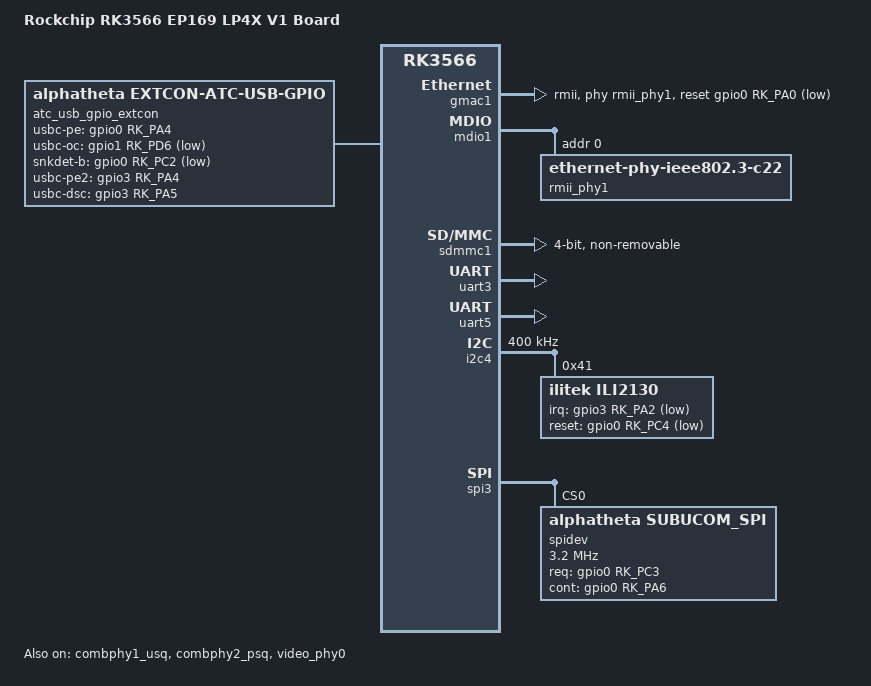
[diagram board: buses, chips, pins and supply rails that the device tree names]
// SPDX-License-Identifier: (GPL-2.0+ OR MIT)
/*
 * Copyright (c) 2020 Rockchip Electronics Co., Ltd.
 *
 */

/dts-v1/;

#include <dt-bindings/gpio/gpio.h>
#include <dt-bindings/display/media-bus-format.h>
#include <dt-bindings/pinctrl/rockchip.h>
#include "rk3566.dtsi"
#include "rk3568-xdjan-v1.dtsi"

/ {
	model = "Rockchip RK3566 EP169 LP4X V1 Board";
	compatible = "rockchip,rk3566-evb2-lp4x-v10", "rockchip,rk3566";

//	rk_headset: rk-headset {
//		status = "disabled";
//		compatible = "rockchip_headset";
//		headset_gpio = <&gpio4 RK_PC5 GPIO_ACTIVE_LOW>;
//		pinctrl-names = "default";
//		pinctrl-0 = <&hp_det>;
//	};

//	vcc_camera: vcc-camera-regulator {
//		compatible = "regulator-fixed";
//		//gpio = <&gpio0 RK_PC1 GPIO_ACTIVE_HIGH>;
//		//pinctrl-names = "default";
//		//pinctrl-0 = <&camera_pwr>;
//		regulator-name = "vcc_camera";
//		enable-active-high;
//		regulator-always-on;
//		regulator-boot-on;
//	};

//	vcc3v3_pcie: gpio-regulator {
//		compatible = "regulator-fixed";
//		regulator-name = "vcc3v3_pcie";
//		regulator-min-microvolt = <3300000>;
//		regulator-max-microvolt = <3300000>;
//		enable-active-high;
//		gpio = <&gpio0 RK_PA5 GPIO_ACTIVE_HIGH>;
//		startup-delay-us = <5000>;
//		vin-supply = <&dc_12v>;
//	};

	gpio-controller {
		compatible = "gpio_control";
		//host_pwr = <&gpio0 RK_PA3 GPIO_ACTIVE_HIGH>;		//Host power
//		usb30_pwr = <&gpio0 RK_PA6 GPIO_ACTIVE_HIGH>;		//usb30 power	VCC5V0_HOST1 (eva)
		//pcie_pwr = <&gpio0 RK_PA5 GPIO_ACTIVE_HIGH>;		//pcie power
		//logic_fb = <&gpio0 RK_PC0 GPIO_ACTIVE_LOW>;		//logic fb
//		rst_4g = <&gpio0 RK_PA0 GPIO_ACTIVE_HIGH>;		//rst_4g
//		sdcd_xrst = <&gpio0 RK_PA5 GPIO_ACTIVE_HIGH>;	// TODO:
		status = "disabled";	// "okay";
	};

	// for EP169 USB-C host from CDJ-3000X
	atc_usb_gpio_extcon: atc-usb-gpio-extcon {
		status = "okay";
		compatible = "alphatheta,extcon-atc-usb-gpio";
		pinctrl-names = "default";
		pinctrl-0 = <&atc_usb_gpios>;

		usbc-pe-gpios = <&gpio0 RK_PA4 GPIO_ACTIVE_HIGH>;		/* USBC_PE (out): GPIO0_A4 */
		usbc-oc-gpios = <&gpio1 RK_PD6 GPIO_ACTIVE_LOW>;		/* USBC_OC (in) : GPIO1_D6 */
		snkdet-b-gpios = <&gpio0 RK_PC2 GPIO_ACTIVE_LOW>;		/* SNKDET_B(in) : GPIO0_C2 */
		usbc-pe2-gpios = <&gpio3 RK_PA4 GPIO_ACTIVE_HIGH>;		/* USBC_PE2(out): GPIO3_A4 */
		usbc-dsc-gpios = <&gpio3 RK_PA5 GPIO_ACTIVE_HIGH>;		/* USBC_DSC(out): GPIO3_A5 */
	};
};

&combphy1_usq {
	status = "okay";
};

&combphy2_psq {
	status = "okay";
};

&csi2_dphy_hw {
	status = "disabled";	//"okay";
};

&csi2_dphy0 {
	status = "disabled";
	/*
	 * dphy0 only used for full mode,
	 * full mode and split mode are mutually exclusive
	 */
	ports {
		#address-cells = <1>;
		#size-cells = <0>;

		port@0 {
			reg = <0>;
			#address-cells = <1>;
			#size-cells = <0>;

			dphy0_in: endpoint@1 {
				reg = <1>;
				//remote-endpoint = <&gc8034_out>;
				data-lanes = <1 2 3 4>;
			};
		};
/*
		port@1 {
			reg = <1>;
			#address-cells = <1>;
			#size-cells = <0>;

			dphy0_out: endpoint@1 {
				reg = <1>;
				remote-endpoint = <&isp0_in>;
			};
		};
*/
	};
};

&csi2_dphy1 {
	status = "disabled";	//"okay";

	/*
	 * dphy1 only used for split mode,
	 * can be used  concurrently  with dphy2
	 * full mode and split mode are mutually exclusive
	 */
	ports {
		#address-cells = <1>;
		#size-cells = <0>;
/*
		port@0 {
			reg = <0>;
			#address-cells = <1>;
			#size-cells = <0>;

			dphy1_in: endpoint@1 {
				reg = <1>;
				remote-endpoint = <&ucam_out0>;		//<&ov5695_out>;
				data-lanes = <1 2>;
			};
		};
*/
		port@1 {
			reg = <1>;
			#address-cells = <1>;
			#size-cells = <0>;

			dphy1_out: endpoint@1 {
				reg = <1>;
				remote-endpoint = <&isp0_in>;
			};
		};
	};
};

&csi2_dphy2 {
	status = "disabled";	//"okay";

	/*
	 * dphy2 only used for split mode,
	 * can be used  concurrently  with dphy1
	 * full mode and split mode are mutually exclusive
	 */
	ports {
		#address-cells = <1>;
		#size-cells = <0>;

		port@0 {
			reg = <0>;
			#address-cells = <1>;
			#size-cells = <0>;

			dphy2_in: endpoint@1 {
				reg = <1>;
				//remote-endpoint = <&ucam_out1>;	//<&gc5025_out>;
				data-lanes = <1 2>;
			};
		};

		port@1 {
			reg = <1>;
			#address-cells = <1>;
			#size-cells = <0>;

			dphy2_out: endpoint@1 {
				reg = <1>;
				remote-endpoint = <&mipi_csi2_input>;
			};
		};
	};
};

&hdmi {
	status = "disabled";	//"okay";
	rockchip,phy-table =
		<92812500  0x8009 0x0000 0x0270>,
		<165000000 0x800b 0x0000 0x026d>,
		<185625000 0x800b 0x0000 0x01ed>,
		<297000000 0x800b 0x0000 0x01ad>,
		<594000000 0x8029 0x0000 0x0088>,
		<000000000 0x0000 0x0000 0x0000>;
};

&hdmi_in_vp0 {
	status = "disabled";	//"okay";
};

&hdmi_in_vp1 {
	status = "disabled";
};

&route_hdmi {
	status = "disabled";	//"okay";
	connect = <&vp0_out_hdmi>;
};

&hdmi_sound {
	status = "disabled";	//"okay";
};

/*
 * video_phy0 needs to be enabled
 * when dsi0 is enabled
 */
&dsi0 {
	status = "disabled";
};

&route_dsi0 {
	status = "disabled";
	connect = <&vp1_out_dsi0>;
};

&dsi0_in_vp0 {
	status = "disabled";
};

&dsi0_in_vp1 {
	status = "disabled";
};

//&dsi0_panel {
//	power-supply = <&vcc3v3_lcd0_n>;
//	reset-gpios = <&gpio0 RK_PC7 GPIO_ACTIVE_LOW>;
//	pinctrl-names = "default";
//	pinctrl-0 = <&lcd0_rst_gpio>;
//};

/*
 * video_phy1 needs to be enabled
 * when dsi1 is enabled
 */
&dsi1 {
	status = "disabled";
};

&dsi1_in_vp0 {
	status = "disabled";
};

&dsi1_in_vp1 {
	status = "disabled";
};

&route_dsi1 {
	status = "disabled";
	connect = <&vp1_out_dsi1>;
};

//&dsi1_panel {
//	power-supply = <&vcc3v3_lcd1_n>;
//	reset-gpios = <&gpio3 RK_PA4 GPIO_ACTIVE_LOW>;
//	pinctrl-names = "default";
//	pinctrl-0 = <&lcd1_rst_gpio>;
//};

&video_phy0 {
	status = "okay";
};

&video_phy1 {
	status = "disabled";
};


&gmac1 {
	status = "okay";

	// RMII
	phy-mode = "rmii";
	clock_in_out = "output";

	assigned-clocks = <&cru SCLK_GMAC1_RX_TX>, <&cru SCLK_GMAC1>;
	assigned-clock-parents = <&cru SCLK_GMAC1_RMII_SPEED>;
	assigned-clock-rates = <0>, <50000000>;

	snps,reset-gpio = <&gpio0 RK_PA0 GPIO_ACTIVE_LOW>;	// <&gpio4 RK_PC2 GPIO_ACTIVE_LOW>;
	snps,reset-active-low;
	/* Reset time is 20ms, 100ms for rtl8211f */
	snps,reset-delays-us = <0 20000 100000>;

	pinctrl-names = "default";
	pinctrl-0 = <&gmac1m0_miim
		     &gmac1m0_clkinout
		     &gmac1m0_rx_bus2
		     &gmac1m0_tx_bus2
		     &gmac1m0_rx_er>;

	phy-handle = <&rmii_phy1>;

/*	// RGMII
	phy-mode = "rgmii";
	clock_in_out = "input";

	assigned-clocks = <&cru SCLK_GMAC1_RX_TX>, <&cru SCLK_GMAC1>;
	assigned-clock-parents = <&cru SCLK_GMAC1_RGMII_SPEED>, <&gmac1_clkin>;

	snps,reset-gpio = <&gpio0 RK_PA0 GPIO_ACTIVE_LOW>;	// <&gpio4 RK_PC2 GPIO_ACTIVE_LOW>;
	snps,reset-active-low;
	// Reset time is 20ms, 100ms for rtl8211f
	snps,reset-delays-us = <0 20000 100000>;

	pinctrl-names = "default";
	pinctrl-0 = <&gmac1m0_miim
		     &gmac1m0_tx_bus2
		     &gmac1m0_rx_bus2
		     &gmac1m0_rgmii_clk
		     &gmac1m0_rgmii_bus
		     &gmac1m0_clkinout>;

	tx_delay = <0x4e>;	//<0x4f>;
	rx_delay = <0x2c>;	//<0x25>;

	phy-handle = <&rgmii_phy1>;
*/
};

&mdio1 {
	// RMII
	rmii_phy1: phy@0 {
		compatible = "ethernet-phy-ieee802.3-c22";
		reg = <0x0>;
	};

/*	// RGMII
	rgmii_phy1: phy@0 {
		compatible = "ethernet-phy-ieee802.3-c22";
		reg = <0x0>;
	};
*/
};

&mipi_csi2 {
	status = "disabled";	//"okay";

	ports {
		#address-cells = <1>;
		#size-cells = <0>;

		port@0 {
			reg = <0>;
			#address-cells = <1>;
			#size-cells = <0>;

			mipi_csi2_input: endpoint@1 {
				reg = <1>;
				remote-endpoint = <&dphy2_out>;
				data-lanes = <1 2>;
			};
		};

		port@1 {
			reg = <1>;
			#address-cells = <1>;
			#size-cells = <0>;

			mipi_csi2_output: endpoint@0 {
				reg = <0>;
				remote-endpoint = <&cif_mipi_in>;
				data-lanes = <1 2>;
			};
		};
	};
};

&pcie2x1 {
//	reset-gpios = <&gpio1 RK_PB2 GPIO_ACTIVE_HIGH>;
//	vpcie3v3-supply = <&vcc3v3_pcie>;
	status = "disabled";	//"okay";
};

&pinctrl {
	// for touch screen
	touch2 {
		touch_gpio2: touch-gpio2 {
			rockchip,pins =
				<3 RK_PA2 RK_FUNC_GPIO &pcfg_pull_none>,	// TOUCH_INT
				<0 RK_PC4 RK_FUNC_GPIO &pcfg_pull_none>;	// TOUCH_RST
		};
	};

	// for wifi/bluetooth module PDN
	sdio-pwrseq {
		wm_rst: wm-rst {
			rockchip,pins = <2 RK_PB5 RK_FUNC_GPIO &pcfg_pull_none>;
		};
	};

	// for EP169 USB-C host from CDJ-3000X
	extcon {
		atc_usb_gpios: atc-usb-gpios {
			rockchip,pins =
				<0 RK_PA4 RK_FUNC_GPIO &pcfg_output_low>,	/* USBC_PE (out): GPIO0_A4 */
				<1 RK_PD6 RK_FUNC_GPIO &pcfg_pull_none>,	/* USBC_OC (in) : GPIO1_D6 */
				<0 RK_PC2 RK_FUNC_GPIO &pcfg_pull_none>,	/* SNKDET_B(in) : GPIO0_C2 */
				<3 RK_PA4 RK_FUNC_GPIO &pcfg_output_low>,	/* USBC_PE2(out): GPIO3_A4 */
				<3 RK_PA5 RK_FUNC_GPIO &pcfg_output_low>;	/* USBC_DSC(out): GPIO3_A5 */
		};
	};

//	cam {
//		camera_pwr: camera-pwr {
//			rockchip,pins = <0 RK_PC1 RK_FUNC_GPIO &pcfg_pull_none>;
//		};
//	};

//	headphone {
//		hp_det: hp-det {
//			rockchip,pins = <4 RK_PC5 RK_FUNC_GPIO &pcfg_pull_down>;
//		};
//	};

//	wireless-wlan {
//		wifi_host_wake_irq: wifi-host-wake-irq {
//			rockchip,pins = <2 RK_PB2 RK_FUNC_GPIO &pcfg_pull_down>;
//		};
//	};

//	wireless-bluetooth {
//		uart1_gpios: uart1-gpios {
//			rockchip,pins = <2 RK_PB5 RK_FUNC_GPIO &pcfg_pull_none>;
//		};
//	};

//	lcd0 {
//		lcd0_rst_gpio: lcd0-rst-gpio {
//			rockchip,pins = <0 RK_PC7 RK_FUNC_GPIO &pcfg_pull_up>;
//		};
//	};

//	lcd1 {
//		lcd1_rst_gpio: lcd1-rst-gpio {
//			rockchip,pins = <3 RK_PA4 RK_FUNC_GPIO &pcfg_pull_none>;
//		};
//	};
};

&rkcif {
	status = "disabled";	// "okay";
};

&rkcif_dvp {
	status = "disabled";

	port {
		//Parallel bus endpoint
		dvp_in_bcam: endpoint {
			//remote-endpoint = <&gc2145_out>;
			bus-width = <8>;
			vsync-active = <0>;
			hsync-active = <1>;
		};
	};
};

&rkcif_mipi_lvds {
	status = "disabled";	// "okay";

	port {
		cif_mipi_in: endpoint {
			remote-endpoint = <&mipi_csi2_output>;
			data-lanes = <1 2>;
		};
	};
};

&rkcif_mmu {
	status = "disabled";	// "okay";
};

&rkisp {
	status = "disabled";	// "okay";
};

&rkisp_mmu {
	status = "disabled";	// "okay";
};

&rkisp_vir0 {
	status = "disabled";	// "okay";

	port {
		#address-cells = <1>;
		#size-cells = <0>;

		isp0_in: endpoint@0 {
			reg = <0>;
			remote-endpoint = <&dphy1_out>;
		};
	};
};

&sdmmc2 {
	status = "disabled";
};

// for Silex SDMAX wireless LAN via SDIO
&sdmmc1 {
	max-frequency = <150000000>;
//	supports-sd;
	supports-sdio;
	bus-width = <4>;
//	cap-mmc-highspeed;
	cap-sd-highspeed;
	cap-sdio-irq;
	disable-wp;
	non-removable;
	sd-uhs-sdr104;
	keep-power-in-suspend;
	mmc-pwrseq = <&sdio_pwrseq>;
	pinctrl-names = "default";
//	pinctrl-0 = <&sdmmc1_bus4 &sdmmc1_cmd &sdmmc1_clk &sdmmc1_det>;
	pinctrl-0 = <&sdmmc1_bus4 &sdmmc1_cmd &sdmmc1_clk>;
	status = "okay";
};

&sdio_pwrseq {
	compatible = "mmc-pwrseq-simple";
	pinctrl-names = "default";
	pinctrl-0 = <&wm_rst>;

	post-power-on-delay-ms = <200>;
	reset-gpios = <&gpio2 RK_PB5 GPIO_ACTIVE_LOW>;
};

&spdif_8ch {
	status = "disabled";	// "okay";
//	pinctrl-names = "default";
//	pinctrl-0 = <&spdifm2_tx>;	//<&spdifm1_tx>;
};

&uart1 {
	status = "disabled";	// "okay";
	pinctrl-names = "default";
	pinctrl-0 = <&uart1m0_xfer &uart1m0_ctsn>;
//	pinctrl-0 = <&uart1m0_xfer &uart1m0_ctsn &uart1m0_rtsn>;
};

// for EP169 RTX SonicLink via uart
&uart3 {
	status = "okay";
	dma-names = "tx", "rx";
	pinctrl-names = "default";
	pinctrl-0 = <&uart3m0_xfer>;
};

&uart4 {
	status = "disabled";	// "okay";
//	pinctrl-names = "default";
//	pinctrl-0 = <&uart4m0_xfer>;
};

// for Silex SDMAX bluetooth via uart
&uart5 {
	status = "okay";
	dma-names = "tx", "rx";
	pinctrl-names = "default";
	pinctrl-0 = <&uart5m0_xfer &uart5m0_ctsn &uart5m0_rtsn>;
};


&i2c4 {
	status = "okay";
	pinctrl-0 = <&i2c4m0_xfer>;

	clock-frequency = <400000>;

	// for EP169 touch screen
	ili2130: ili2130@41 {
		status = "okay";
		compatible = "ilitek,ili2130";
		reg = <0x41>;

		pinctrl-names = "default";
		pinctrl-0 = <&touch_gpio2>;
		alphatheta,irq-gpios = <&gpio3 RK_PA2 GPIO_ACTIVE_LOW>;	// TOUCH_INT
		reset-gpios = <&gpio0 RK_PC4 GPIO_ACTIVE_LOW>;			// TOUCH_RST
	};

/*
	vm149c: vm149c@0c {
		compatible = "silicon touch,vm149c";
		status = "disabled";	// "okay";
		reg = <0x0c>;
		rockchip,camera-module-index = <0>;
		rockchip,camera-module-facing = "back";
	};

	ov13850: ov13850@10 {
		compatible = "ovti,ov13850";
		status = "disabled";	// "okay";
		reg = <0x10>;
		clocks = <&cru CLK_CIF_OUT>;
		clock-names = "xvclk";
		power-domains = <&power RK3568_PD_VI>;

		// conflict with csi-ctl-gpios
		//reset-gpios = <&gpio4 RK_PB0 GPIO_ACTIVE_LOW>;
		//pwdn-gpios = <&gpio4 RK_PB5 GPIO_ACTIVE_LOW>;

		pinctrl-names = "default";
		pinctrl-0 = <&cif_clk &csi_pins>;

		rockchip,camera-module-index = <0>;
		rockchip,camera-module-facing = "back";
		//rockchip,camera-module-name = "TongJu";
		//rockchip,camera-module-lens-name = "CHT842-MD";
		rockchip,camera-module-name = "CMK-CT0116";
		rockchip,camera-module-lens-name = "Largan-50013A1";
		lens-focus = <&vm149c>;

		port {
			ucam_out0: endpoint {
				remote-endpoint = <&dphy1_in>;
				data-lanes = <1 2>;
			};
		};
	};

	ov13850: ov13850@10 {
		compatible = "ovti,ov13850";
		status = "disabled";	// "okay";
		reg = <0x10>;
		clocks = <&cru CLK_CIF_OUT>;
		clock-names = "xvclk";

		// conflict with csi-ctl-gpios
		reset-gpios = <&gpio4 RK_PB1 GPIO_ACTIVE_HIGH>;
		pwdn-gpios = <&gpio4 RK_PB7 GPIO_ACTIVE_HIGH>;
		pinctrl-names = "rockchip,camera_default";
		pinctrl-0 = <&cif_clk>;	

		rockchip,camera-module-index = <1>;
		rockchip,camera-module-facing = "front";
		rockchip,camera-module-name = "TongJu";
		rockchip,camera-module-lens-name = "CHT842-MD";

		port {
			ucam_out1: endpoint {
				remote-endpoint = <&dphy2_in>;
				data-lanes = <1 2>;
			};
		};
	};
*/
};

&i2c5 {
	status = "disabled";
	pinctrl-0 = <&i2c5m1_xfer>;

/*
	clock-frequency = <400000>;
//	i2c-scl-rising-time-ns = <138>;		// TODO:
//	i2c-scl-falling-time-ns = <4>;		// TODO:

	// for EP148 touch screen
	gt9xx: gt9xx@5d {
		status = "disabled";	// "okay";
		compatible = "goodix,gt9xx";
		reg = <0x5d>;		// slave address  TODO: <0x5d>; (0xBA/0xBB) <0x14>; (0x28/0x29)

		pinctrl-names = "default";
		pinctrl-0 = <&touch_gpio2>;

		goodix,irq-gpio = <&gpio4 RK_PD1 IRQ_TYPE_LEVEL_LOW>;	// TOUCH_INT
		goodix,rst-gpio = <&gpio0 RK_PC4 GPIO_ACTIVE_LOW>;		// TOUCH_RST

		goodix,cfg-group3 = [
			44 00 04 58 02 0A 3D 00 01 08 28 05 50 32 03 05
			00 00 00 00 00 00 00 1A 1C 1E 0F 8C 2E 0E 17 15
			31 0D 00 00 00 FE 03 1C 13 00 00 00 00 03 64 32
			00 00 00 0F 94 94 C5 02 07 00 00 04 87 13 00 70
			1E 00 67 30 00 66 4C 00 70 78 00 70 00 00 00 00
			00 00 00 00 00 00 00 00 00 00 00 00 00 00 00 00
			00 00 00 00 00 00 00 00 00 00 00 00 00 00 00 00
			02 04 06 08 0A 0C 0E 10 12 14 16 18 1A 1C FF FF
			FF FF FF FF FF FF FF FF FF FF FF FF FF FF 00 02
			04 06 08 0A 0C 0F 10 12 13 14 16 18 1C 1D 1E 1F
			20 21 22 24 26 28 29 2A FF FF FF FF FF FF FF FF
			FF FF FF FF FF FF FF FF 27 01
		];
	};
*/
};

&spi3 {
	status = "okay";
	pinctrl-names = "default";
	pinctrl-0 = <&spi3m1_pins &spi3m1_cs0>;

	spidev@0 {
		// switch compatible spidev or subucom_spi
		//compatible = "rockchip,spidev";
		compatible = "alphatheta,subucom_spi";
		reg = <0>;
		spi-max-frequency = <3200000>;

		// Remove comment lines in case of subucom.
		spi-cpha = <1>;
		spi-cpol = <1>;
		pinctrl-0 = <&subucom_spi3>;
		req-gpio = <&gpio0 RK_PC3 GPIO_ACTIVE_HIGH>;	/* req:  GPIO0 C3 */
		cont-gpio = <&gpio0 RK_PA6 GPIO_ACTIVE_HIGH>;	/* cont: GPIO0 A6 */
	};
};

// Remove comment lines in case of subucom.
&pinctrl {
	/* atc: enable subucom_spi driver */
	subucom-spi {
		subucom_spi3: subucom-spi3 {
			rockchip,pins =
				<4 RK_PC4 RK_FUNC_GPIO &pcfg_pull_down>,	/* SoM_ErP_REQ:  GPIO4 C4 */
				<0 RK_PA6 RK_FUNC_GPIO &pcfg_output_low>;	/* SoM_ErP_CONT: GPIO0 A6 */
		};
	};
};

&sata1 {
	status = "disabled";	//"okay";	//open this, usb3.0 will not work,sata work
};

//&vcc3v3_lcd0_n {
//	gpio = <&gpio0 RK_PB7 GPIO_ACTIVE_HIGH>;
//	enable-active-high;
//};

//&vcc3v3_lcd1_n {
//	//gpio = <&gpio0 RK_PC5 GPIO_ACTIVE_HIGH>;
//	//enable-active-high;
//};

/*
&wireless_wlan {
	status = "disabled";	//"okay";
//	pinctrl-names = "default";
//	pinctrl-0 = <&wifi_host_wake_irq>;
//	WIFI,host_wake_irq = <&gpio2 RK_PB2 GPIO_ACTIVE_HIGH>;
};

&wireless_bluetooth {
	compatible = "bluetooth-platdata";
	clocks = <&pmucru CLK_RTC_32K>;
	clock-names = "ext_clock";
	//clocks = <&rk809 1>;
	//clock-names = "ext_clock";
	//wifi-bt-power-toggle;
//	uart_rts_gpios = <&gpio2 RK_PB5 GPIO_ACTIVE_LOW>;
//	pinctrl-names = "default", "rts_gpio";
//	pinctrl-0 = <&uart1m0_rtsn>;
//	pinctrl-1 = <&uart1_gpios>;
//	BT,reset_gpio    = <&gpio2 RK_PB7 GPIO_ACTIVE_HIGH>;
//	BT,wake_gpio     = <&gpio2 RK_PC0 GPIO_ACTIVE_HIGH>;
//	BT,wake_host_irq = <&gpio2 RK_PC1 GPIO_ACTIVE_HIGH>;
	status = "disabled";	//"okay";
};
*/
